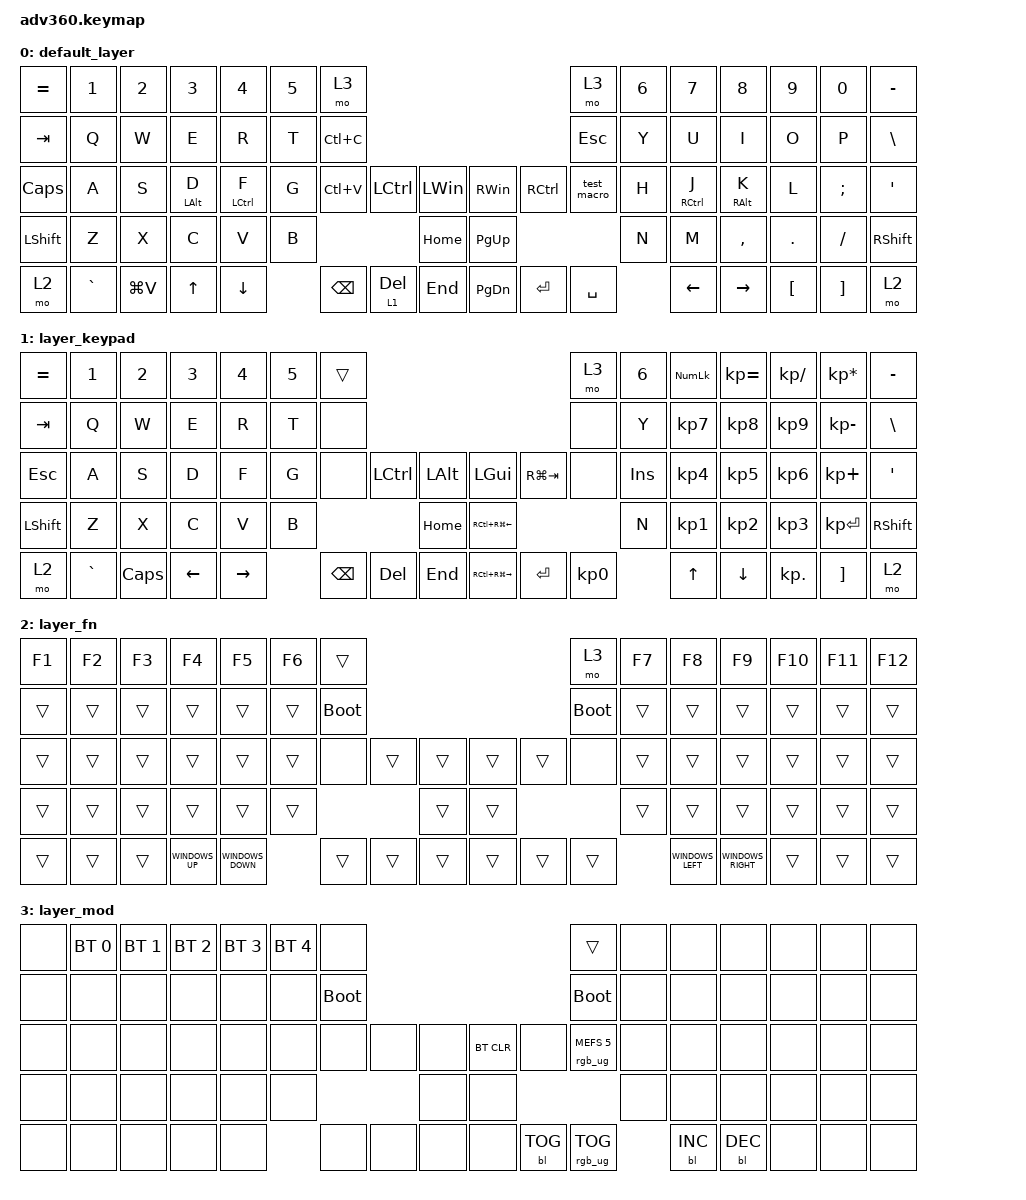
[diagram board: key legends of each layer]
/*
 * Copyright (c) 2020 The ZMK Contributors
 *
 * SPDX-License-Identifier: MIT
 */
/* THIS FILE WAS GENERATED!
 *
 * This file was generated automatically. You may or may not want to
 * edit it directly.
 */

#include <behaviors.dtsi>
#include <dt-bindings/zmk/backlight.h>
#include <dt-bindings/zmk/bt.h>
#include <dt-bindings/zmk/keys.h>
#include <dt-bindings/zmk/rgb.h>

/ {
    behaviors {
        #include "macros.dtsi"
    #include "version.dtsi"

        hm: homerow_mods {
            compatible = "zmk,behavior-hold-tap";
            label = "HOMEROW_MODS";
            #binding-cells = <2>;
            tapping-term-ms = <200>;
            quick_tap_ms = <175>;
            flavor = "tap-preferred";
            bindings = <&kp>, <&kp>;
        };
    };

    macros {
        test_macro: test_macro {
            compatible = "zmk,behavior-macro";
            #binding-cells = <0>;
            bindings = <&kp S &kp K &kp AT &kp LS(J) &kp LS(T) &kp LS(M) &kp D &kp E &kp C &kp E &kp M &kp B &kp E &kp R &kp N2 &kp N0 &kp N2 &kp NUMBER_4>;
            label = "TEST_MACRO";
            tap-ms = <30>;
            wait-ms = <1>;
        };

        WINDOWS_LEFT: WINDOWS_LEFT {
            compatible = "zmk,behavior-macro";
            #binding-cells = <0>;
            bindings = <&kp LG(LS(LEFT))>;
            label = "WINDOWS_LEFT";
        };

        WINDOWS_RIGHT: WINDOWS_RIGHT {
            compatible = "zmk,behavior-macro";
            #binding-cells = <0>;
            bindings = <&kp LG(LS(RIGHT))>;
            label = "WINDOWS_RIGHT";
        };

        WINDOWS_UP: WINDOWS_UP {
            compatible = "zmk,behavior-macro";
            #binding-cells = <0>;
            bindings = <&kp LG(UP_ARROW)>;
            label = "WINDOWS_UP";
        };

        WINDOWS_DOWN: WINDOWS_DOWN {
            compatible = "zmk,behavior-macro";
            #binding-cells = <0>;
            bindings = <&kp LG(DOWN_ARROW)>;
            label = "WINDOWS_DOWN";
        };
    };

    keymap {
        compatible = "zmk,keymap";

        default_layer {
            bindings = <
&kp EQUAL  &kp N1     &kp NUMBER_2  &kp NUMBER_3  &kp NUMBER_4  &kp N5  &mo 3                                                            &mo 3        &kp NUMBER_6  &kp N7               &kp N8           &kp N9    &kp N0             &kp MINUS
&kp TAB    &kp Q      &kp W         &kp E         &kp R         &kp T   &kp LC(C)                                                        &kp ESC      &kp Y         &kp U                &kp I            &kp O     &kp P              &kp BSLH
&kp CAPS   &kp A      &kp S         &hm LALT D    &hm LCTRL F   &kp G   &kp LC(V)  &kp LCTRL     &kp LEFT_WIN      &kp RWIN   &kp RCTRL  &test_macro  &kp H         &hm RIGHT_CONTROL J  &hm RIGHT_ALT K  &kp L     &kp SEMI           &kp SQT
&kp LSHFT  &kp Z      &kp X         &kp C         &kp V         &kp B                            &kp HOME          &kp PG_UP                          &kp N         &kp M                &kp COMMA        &kp DOT   &kp FSLH           &kp RSHFT
&mo 2      &kp GRAVE  &kp LG(V)     &kp UP        &kp DOWN              &kp BSPC   &lt 1 DELETE  &kp END           &kp PG_DN  &kp ENTER  &kp SPACE                  &kp LEFT             &kp RIGHT        &kp LBKT  &kp RIGHT_BRACKET  &mo 2
            >;
        };

        layer_keypad {
            bindings = <
&kp EQUAL  &kp N1     &kp N2    &kp N3    &kp N4     &kp N5  &trans                                                                   &mo 3      &kp N6      &kp KP_NUM  &kp KP_EQUAL  &kp KP_DIVIDE  &kp KP_MULTIPLY  &kp MINUS
&kp TAB    &kp Q      &kp W     &kp E     &kp R      &kp T   &none                                                                    &none      &kp Y       &kp KP_N7   &kp KP_N8     &kp KP_N9      &kp KP_MINUS     &kp BSLH
&kp ESC    &kp A      &kp S     &kp D     &kp F      &kp G   &none     &kp LCTRL  &kp LALT      &kp LGUI                 &kp RG(TAB)  &none      &kp INSERT  &kp KP_N4   &kp KP_N5     &kp KP_N6      &kp KP_PLUS      &kp SQT
&kp LSHFT  &kp Z      &kp X     &kp C     &kp V      &kp B                        &kp HOME      &kp RC(RG(LEFT_ARROW))                           &kp N       &kp KP_N1   &kp KP_N2     &kp KP_N3      &kp KP_ENTER     &kp RSHFT
&mo 2      &kp GRAVE  &kp CAPS  &kp LEFT  &kp RIGHT          &kp BSPC  &kp DEL    &kp END       &kp RC(RG(RIGHT_ARROW))  &kp ENTER    &kp KP_N0              &kp UP      &kp DOWN      &kp KP_DOT     &kp RBKT         &mo 2
            >;
        };

        layer_fn {
            bindings = <
&kp F1  &kp F2  &kp F3  &kp F4       &kp F5         &kp F6  &trans                                           &mo 3        &kp F7  &kp F8         &kp F9          &kp F10  &kp F11  &kp F12
&trans  &trans  &trans  &trans       &trans         &trans  &bootloader                                      &bootloader  &trans  &trans         &trans          &trans   &trans   &trans
&trans  &trans  &trans  &trans       &trans         &trans  &none        &trans  &trans      &trans  &trans  &none        &trans  &trans         &trans          &trans   &trans   &trans
&trans  &trans  &trans  &trans       &trans         &trans                       &trans      &trans                       &trans  &trans         &trans          &trans   &trans   &trans
&trans  &trans  &trans  &WINDOWS_UP  &WINDOWS_DOWN          &trans       &trans  &trans      &trans  &trans  &trans               &WINDOWS_LEFT  &WINDOWS_RIGHT  &trans   &trans   &trans
            >;
        };

        layer_mod {
            bindings = <
&none  &bt BT_SEL 0  &bt BT_SEL 1  &bt BT_SEL 2  &bt BT_SEL 3  &bt BT_SEL 4  &none                                                  &trans                  &none  &none       &none       &none  &none  &none
&none  &none         &none         &none         &none         &none         &bootloader                                            &bootloader             &none  &none       &none       &none  &none  &none
&none  &none         &none         &none         &none         &none         &none        &none  &none      &bt BT_CLR  &none       &rgb_ug RGB_MEFS_CMD 5  &none  &none       &none       &none  &none  &none
&none  &none         &none         &none         &none         &none                             &none      &none                                           &none  &none       &none       &none  &none  &none
&none  &none         &none         &none         &none                       &none        &none  &none      &none       &bl BL_TOG  &rgb_ug RGB_TOG                &bl BL_INC  &bl BL_DEC  &none  &none  &none
            >;
        };
    };
};
